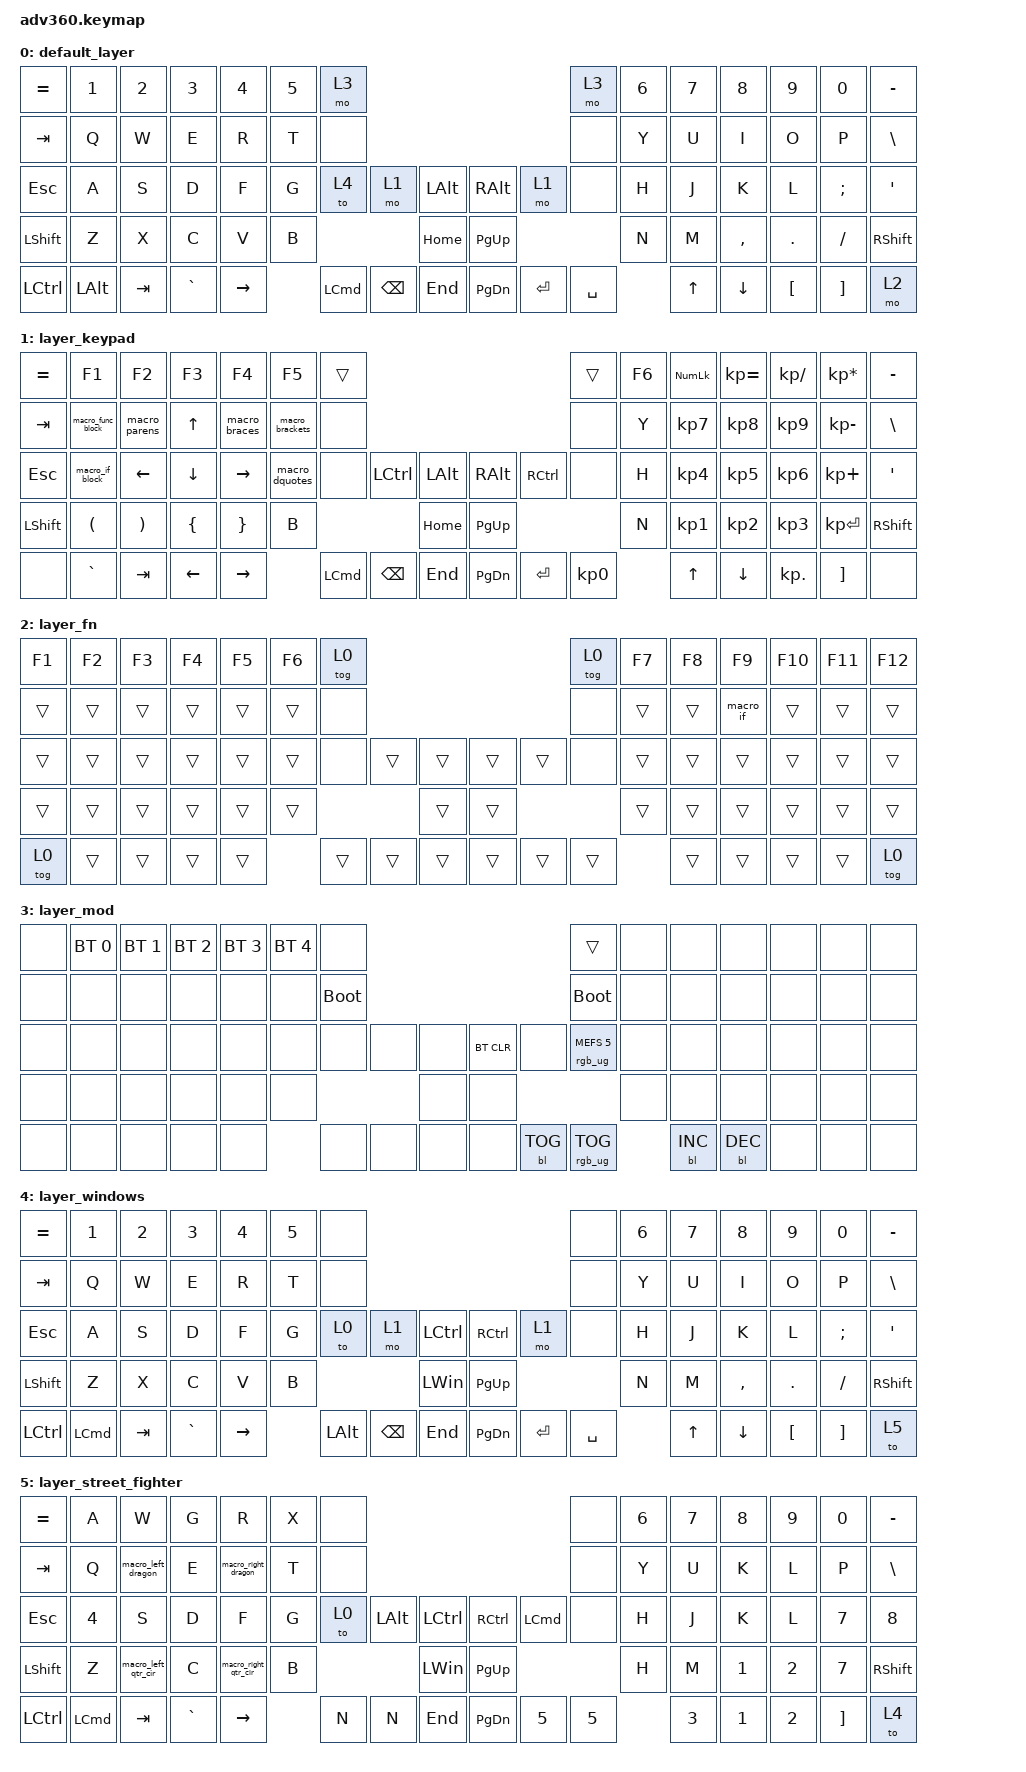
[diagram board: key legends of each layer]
/*
 * Copyright (c) 2020 The ZMK Contributors
 *
 * SPDX-License-Identifier: MIT
 */
/* THIS FILE WAS GENERATED!
 *
 * This file was generated automatically. You may or may not want to
 * edit it directly.
 */

#include <dt-bindings/zmk/stp.h>
#include <behaviors.dtsi>
#include <dt-bindings/zmk/backlight.h>
#include <dt-bindings/zmk/bt.h>
#include <dt-bindings/zmk/keys.h>
#include <dt-bindings/zmk/rgb.h>

/ {
    behaviors {
        #include "macros.dtsi"

        hm: homerow_mods {
            compatible = "zmk,behavior-hold-tap";
            label = "HOMEROW_MODS";
            #binding-cells = <2>;
            tapping-term-ms = <200>;
            quick_tap_ms = <175>;
            flavor = "tap-preferred";
            bindings = <&kp>, <&kp>;
        };

        extra1 {
            display-name = "Red";
            status = "reserved";
        };

        extra2 {
            display-name = "Purple";
            status = "reserved";
        };

        extra3 {
            display-name = "Cyan";
            status = "reserved";
        };

        extra4 {
            display-name = "Yellow";
            status = "reserved";
        };
    };

    macros {
        macro_if: macro_if {
            compatible = "zmk,behavior-macro";
            #binding-cells = <0>;
            bindings = <&none &kp I &kp F &kp SPACE &kp LPAR &kp RPAR &kp SPACE &kp LEFT_BRACE &kp RET &kp RET &kp RBRC &kp UP_ARROW &kp UP_ARROW &kp RIGHT &kp RIGHT_ARROW &kp RIGHT_ARROW>;
            label = "MACRO_IF";
        };
    };

    keymap {
        compatible = "zmk,keymap";

        default_layer {
            bindings = <
&kp EQUAL         &kp N1        &kp N2   &kp N3     &kp N4     &kp N5  &mo 3                                                            &mo 3      &kp N6  &kp N7  &kp N8     &kp N9    &kp N0    &kp MINUS
&kp TAB           &kp Q         &kp W    &kp E      &kp R      &kp T   &none                                                            &none      &kp Y   &kp U   &kp I      &kp O     &kp P     &kp BSLH
&kp ESC           &kp A         &kp S    &kp D      &kp F      &kp G   &to 4     &mo 1          &kp LALT      &kp RIGHT_ALT  &mo 1      &none      &kp H   &kp J   &kp K      &kp L     &kp SEMI  &kp SQT
&kp LSHFT         &kp Z         &kp X    &kp C      &kp V      &kp B                            &kp HOME      &kp PG_UP                            &kp N   &kp M   &kp COMMA  &kp DOT   &kp FSLH  &kp RSHFT
&kp LEFT_CONTROL  &kp LEFT_ALT  &kp TAB  &kp GRAVE  &kp RIGHT          &kp LCMD  &kp BACKSPACE  &kp END       &kp PG_DN      &kp ENTER  &kp SPACE          &kp UP  &kp DOWN   &kp LBKT  &kp RBKT  &mo 2
            >;
        };

        layer_keypad {
            bindings = <
&kp EQUAL  &kp F1                &kp F2                 &kp F3          &kp F4           &kp F5           &trans                                                           &trans     &kp F6  &kp KP_NUM  &kp KP_EQUAL  &kp KP_DIVIDE  &kp KP_MULTIPLY  &kp MINUS
&kp TAB    &macro_func_block     &macro_parens          &kp UP          &macro_braces    &macro_brackets  &none                                                            &none      &kp Y   &kp KP_N7   &kp KP_N8     &kp KP_N9      &kp KP_MINUS     &kp BSLH
&kp ESC    &macro_if_block       &kp LEFT               &kp DOWN        &kp RIGHT        &macro_dquotes   &none     &kp LCTRL      &kp LALT      &kp RIGHT_ALT  &kp RCTRL  &none      &kp H   &kp KP_N4   &kp KP_N5     &kp KP_N6      &kp KP_PLUS      &kp SQT
&kp LSHFT  &kp LEFT_PARENTHESIS  &kp RIGHT_PARENTHESIS  &kp LEFT_BRACE  &kp RIGHT_BRACE  &kp B                                     &kp HOME      &kp PG_UP                            &kp N   &kp KP_N1   &kp KP_N2     &kp KP_N3      &kp KP_ENTER     &kp RSHFT
&none      &kp GRAVE             &kp TAB                &kp LEFT        &kp RIGHT                         &kp LCMD  &kp BACKSPACE  &kp END       &kp PG_DN      &kp ENTER  &kp KP_N0          &kp UP      &kp DOWN      &kp KP_DOT     &kp RBKT         &none
            >;
        };

        layer_fn {
            bindings = <
&kp F1  &kp F2  &kp F3  &kp F4  &kp F5  &kp F6  &tog 0                                      &tog 0  &kp F7  &kp F8  &kp F9     &kp F10  &kp F11  &kp F12
&trans  &trans  &trans  &trans  &trans  &trans  &none                                       &none   &trans  &trans  &macro_if  &trans   &trans   &trans
&trans  &trans  &trans  &trans  &trans  &trans  &none   &trans  &trans      &trans  &trans  &none   &trans  &trans  &trans     &trans   &trans   &trans
&trans  &trans  &trans  &trans  &trans  &trans                  &trans      &trans                  &trans  &trans  &trans     &trans   &trans   &trans
&tog 0  &trans  &trans  &trans  &trans          &trans  &trans  &trans      &trans  &trans  &trans          &trans  &trans     &trans   &trans   &tog 0
            >;
        };

        layer_mod {
            bindings = <
&none  &bt BT_SEL 0  &bt BT_SEL 1  &bt BT_SEL 2  &bt BT_SEL 3  &bt BT_SEL 4  &none                                                  &trans                  &none  &none       &none       &none  &none  &none
&none  &none         &none         &none         &none         &none         &bootloader                                            &bootloader             &none  &none       &none       &none  &none  &none
&none  &none         &none         &none         &none         &none         &none        &none  &none      &bt BT_CLR  &none       &rgb_ug RGB_MEFS_CMD 5  &none  &none       &none       &none  &none  &none
&none  &none         &none         &none         &none         &none                             &none      &none                                           &none  &none       &none       &none  &none  &none
&none  &none         &none         &none         &none                       &none        &none  &none      &none       &bl BL_TOG  &rgb_ug RGB_TOG                &bl BL_INC  &bl BL_DEC  &none  &none  &none
            >;
        };

        layer_windows {
            bindings = <
&kp EQUAL         &kp N1            &kp N2   &kp N3     &kp N4     &kp N5  &none                                                                            &none      &kp N6  &kp N7  &kp N8     &kp N9    &kp N0    &kp MINUS
&kp TAB           &kp Q             &kp W    &kp E      &kp R      &kp T   &none                                                                            &none      &kp Y   &kp U   &kp I      &kp O     &kp P     &kp BSLH
&kp ESC           &kp A             &kp S    &kp D      &kp F      &kp G   &to 0         &mo 1          &kp LEFT_CONTROL      &kp RIGHT_CONTROL  &mo 1      &none      &kp H   &kp J   &kp K      &kp L     &kp SEMI  &kp SQT
&kp LSHFT         &kp Z             &kp X    &kp C      &kp V      &kp B                                &kp LEFT_WIN          &kp PG_UP                                &kp N   &kp M   &kp COMMA  &kp DOT   &kp FSLH  &kp RSHFT
&kp LEFT_CONTROL  &kp LEFT_COMMAND  &kp TAB  &kp GRAVE  &kp RIGHT          &kp LEFT_ALT  &kp BACKSPACE  &kp END               &kp PG_DN          &kp ENTER  &kp SPACE          &kp UP  &kp DOWN   &kp LBKT  &kp RBKT  &to 5
            >;
        };

        layer_street_fighter {
            bindings = <
&kp EQUAL         &kp A             &kp W                &kp G      &kp R                 &kp X  &none                                                                   &none         &kp N6  &kp N7        &kp N8        &kp N9        &kp N0        &kp MINUS
&kp TAB           &kp Q             &macro_left_dragon   &kp E      &macro_right_dragon   &kp T  &none                                                                   &none         &kp Y   &kp U         &kp K         &kp L         &kp P         &kp BSLH
&kp ESC           &kp N4            &kp S                &kp D      &kp F                 &kp G  &to 0  &kp LEFT_ALT  &kp LEFT_CONTROL      &kp RIGHT_CONTROL  &kp LCMD  &none         &kp H   &kp J         &kp K         &kp L         &kp NUMBER_7  &kp NUMBER_8
&kp LSHFT         &kp Z             &macro_left_qtr_cir  &kp C      &macro_right_qtr_cir  &kp B                       &kp LEFT_WIN          &kp PG_UP                                  &kp H   &kp M         &kp NUMBER_1  &kp NUMBER_2  &kp N7        &kp RSHFT
&kp LEFT_CONTROL  &kp LEFT_COMMAND  &kp TAB              &kp GRAVE  &kp RIGHT                    &kp N  &kp N         &kp END               &kp PG_DN          &kp N5    &kp NUMBER_5          &kp NUMBER_3  &kp NUMBER_1  &kp NUMBER_2  &kp RBKT      &to 4
            >;
        };
    };
};
